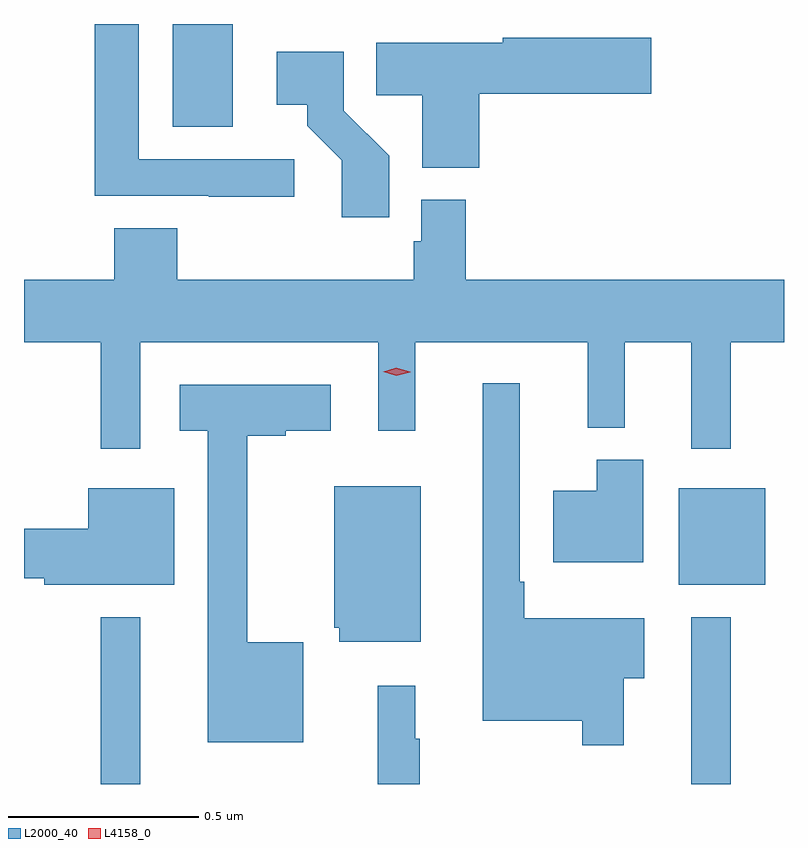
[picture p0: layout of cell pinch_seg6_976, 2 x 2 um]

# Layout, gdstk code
import gdstk
lib = gdstk.Library(unit=1e-6, precision=1e-09)
def R(c, l, rs):  # rectangles x0, y0, x1, y1
    for r in rs: c.add(gdstk.rectangle(r[:2], r[2:], *l))
def P(c, l, *ps):  # polygons
    for p in ps: c.add(gdstk.Polygon(p, *l))
L2000_40 = (2000, 40)
L4158_0 = (4158, 0)

pinch_seg6_976 = lib.new_cell('pinch_seg6_976')
R(pinch_seg6_976, L2000_40, [(333.227,927.525,333.331,927.964), (334.781,927.525,334.885,927.964), (334.748,928.049,334.975,928.303), (333.416,929.254,333.574,929.525)])
P(pinch_seg6_976, L2000_40, [(333.736,929.169),(333.327,929.169),(333.327,929.525),(333.211,929.525),(333.211,929.073),(333.511,929.073),(333.511,929.071),(333.736,929.071)],
  [(334.223,929.342),(334.675,929.342),(334.675,929.489),(334.285,929.489),(334.285,929.476),(333.952,929.476),(333.952,929.338),(334.073,929.338),(334.073,929.147),(334.223,929.147)],
  [(333.986,929.178),(333.867,929.297),(333.867,929.452),(333.69,929.452),(333.69,929.312),(333.77,929.312),(333.77,929.257),(333.861,929.167),(333.861,929.016),(333.986,929.016)],
  [(333.331,928.688),(333.957,928.688),(333.957,928.455),(334.055,928.455),(334.055,928.688),(334.508,928.688),(334.508,928.463),(334.606,928.463),(334.606,928.688),(334.781,928.688),(334.781,928.407),(334.885,928.407),(334.885,928.688),(335.025,928.688),(335.025,928.852),(334.187,928.852),(334.187,929.062),(334.071,929.062),(334.071,928.953),(334.051,928.953),(334.051,928.852),(333.428,928.852),(333.428,928.988),(333.263,928.988),(333.263,928.852),(333.025,928.852),(333.025,928.688),(333.227,928.688),(333.227,928.407),(333.331,928.407)],
  [(334.603,927.803),(334.657,927.803),(334.657,927.961),(334.342,927.961),(334.342,928.057),(334.329,928.057),(334.329,928.579),(334.232,928.579),(334.232,927.692),(334.494,927.692),(334.494,927.627),(334.603,927.627)],
  [(333.76,927.898),(333.613,927.898),(333.613,928.442),(333.714,928.442),(333.714,928.454),(333.832,928.454),(333.832,928.576),(333.435,928.576),(333.435,928.454),(333.509,928.454),(333.509,927.635),(333.76,927.635)],
  [(334.654,928.378),(334.532,928.378),(334.532,928.297),(334.418,928.297),(334.418,928.109),(334.654,928.109)],
  [(334.069,928.309),(333.842,928.309),(333.842,927.936),(333.854,927.936),(333.854,927.899),(334.069,927.899)],
  [(333.421,928.303),(333.194,928.303),(333.194,928.197),(333.025,928.197),(333.025,928.067),(333.078,928.067),(333.078,928.049),(333.421,928.049)],
  [(334.066,927.644),(334.054,927.644),(334.054,927.784),(333.956,927.784),(333.956,927.525),(334.066,927.525)])
P(pinch_seg6_976, L4158_0, [(334.005,928.6),(333.97,928.61),(333.969,928.61),(333.97,928.61),(334.005,928.62),(334.041,928.61),(334.041,928.61),(334.041,928.609)])

lib.write_gds('pinch_seg6_976.gds')
